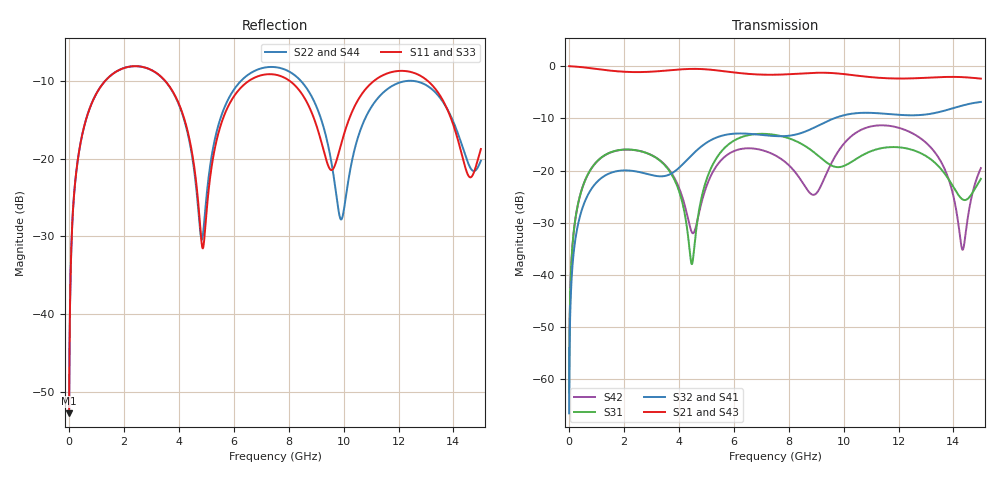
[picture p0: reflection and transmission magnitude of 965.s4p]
! Created with skrf 1.8.0 (http://scikit-rf.org).
# GHz S RI R 50.0
!freq ReS11 ImS11 ReS12 ImS12 ReS13 ImS13
! ReS14 ImS14
! ReS21 ImS21 ReS22 ImS22 ReS23 ImS23
! ReS24 ImS24
! ReS31 ImS31 ReS32 ImS32 ReS33 ImS33
! ReS34 ImS34
! ReS41 ImS41 ReS42 ImS42 ReS43 ImS43
! ReS44 ImS44
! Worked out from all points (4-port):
!   2499 points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, 5 MHz to 15 GHz, reference 50 ohm
!   strongest paths, dB at 5 MHz, 3.476 GHz, 7.19 GHz, 11.1 GHz, 15 GHz:
!     S21: 0.0, -0.9, -1.7, -2.2, -2.4
!     S43: 0.0, -0.9, -1.7, -2.2, -2.4
!     S32: -66.5, -21.1, -13.3, -9.0, -6.9
!     S41: -66.5, -21.1, -13.3, -9.0, -6.9
!     S31: -62.5, -18.9, -13.0, -16.1, -21.6
!     S42: -62.5, -18.8, -16.4, -11.5, -19.5
!   lowest |S11| = -52.7 dB at 5 MHz (marker M1), VSWR 1.00, Z = 50.2 + j0.141 ohm
!   |S11| at or under -10 dB: 3.498 GHz to 6.561 GHz (3.063 GHz wide, 60.9 % of centre); 8.028 GHz to 11.12 GHz (3.088 GHz wide, 32.3 % of centre); 13.06 GHz to end of sweep (the widest 3 of 4)
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0.005  0.00185 0.0014  0.9981 -0.00359  9.37e-05 0.000741  -9.09e-05 -0.000464
       0.9981 -0.00359  0.00185 0.0014  -9.09e-05 -0.000464  9.37e-05 0.000742
       9.37e-05 0.000741  -9.09e-05 -0.000464  0.00185 0.0014  0.9981 -0.00359
       -9.09e-05 -0.000464  9.37e-05 0.000742  0.9981 -0.00359  0.00185 0.0014
0.3126303  0.0294 0.0911  0.9597 -0.2223  0.0139 0.0433  -0.0115 -0.0266
           0.9597 -0.2223  0.0294 0.0911  -0.0115 -0.0266  0.0138 0.0434
           0.0139 0.0433  -0.0115 -0.0266  0.0294 0.0911  0.9597 -0.2223
           -0.0115 -0.0266  0.0138 0.0434  0.9597 -0.2223  0.0294 0.0911
1.469362  0.2897 0.169  0.5046 -0.7535  0.1368 0.0554  -0.0936 0.00131
          0.5046 -0.7535  0.2901 0.1686  -0.0938 0.00145  0.136 0.0565
          0.1368 0.0554  -0.0938 0.00145  0.2896 0.169  0.5046 -0.7535
          -0.0936 0.00131  0.136 0.0565  0.5046 -0.7535  0.2901 0.1685
4.476865  0.0504 -0.0981  -0.8889 -0.3051  0.0127 0.000225  -0.0421 0.1345
          -0.8889 -0.3051  0.0512 -0.092  -0.0402 0.1351  -0.0234 -0.0103
          0.0127 0.000225  -0.0402 0.1351  0.051 -0.0967  -0.8892 -0.3048
          -0.0421 0.1345  -0.0234 -0.0103  -0.8892 -0.3048  0.0498 -0.0913
7.334306  0.3478 0.0172  -0.0932 0.8206  0.1675 -0.1462  0.2099 -0.041
          -0.0932 0.8206  0.3872 -0.0173  0.2103 -0.0453  0.1469 0.00409
          0.1675 -0.1462  0.2103 -0.0453  0.3489 0.0174  -0.0935 0.8198
          0.2099 -0.041  0.1469 0.00409  -0.0935 0.8198  0.3896 -0.016
10.06044  0.1176 0.0966  0.8343 -0.0475  -0.0465 0.1018  -0.0304 -0.3392
          0.8343 -0.0475  0.0478 0.0238  -0.0395 -0.3383  0.1419 0.1217
          -0.0465 0.1018  -0.0395 -0.3383  0.1199 0.0941  0.8344 -0.0459
          -0.0304 -0.3392  0.1419 0.1217  0.8344 -0.0459  0.0474 0.0242
15  0.0968 0.0624  -0.758 -0.0128  0.0181 0.0812  0.00249 0.453
    -0.758 -0.0128  0.09 0.0357  0.0205 0.4531  0.0692 0.0796
    0.0181 0.0812  0.0205 0.4531  0.0944 0.0601  -0.758 -0.0173
    0.00249 0.453  0.0692 0.0796  -0.758 -0.0173  0.0939 0.0379
